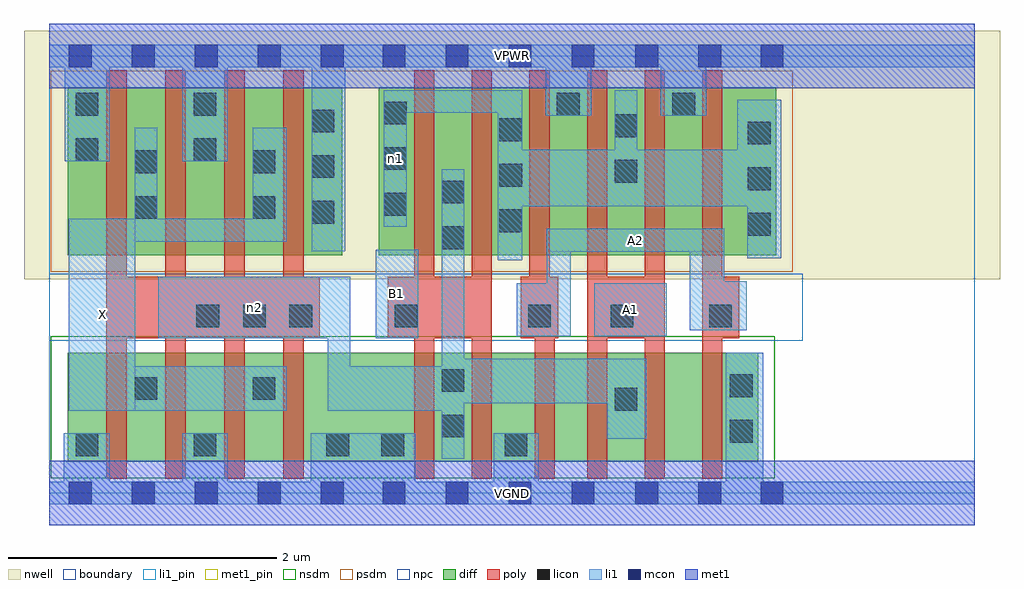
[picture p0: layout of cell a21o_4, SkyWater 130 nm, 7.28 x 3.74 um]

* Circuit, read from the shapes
.subckt a21o_4 A1 A2 B1 VGND VPWR X n1 n2
XM1 X n2 VGND VSUBS sky130_fd_pr__nfet_01v8 w=0.81 l=0.15 m=4
XM2 n2 B1 VGND VSUBS sky130_fd_pr__nfet_01v8 w=0.81 l=0.15 m=2
XM3 n3 A2 VGND VSUBS sky130_fd_pr__nfet_01v8 w=0.81 l=0.15
XM4 n2 A1 n3 VSUBS sky130_fd_pr__nfet_01v8 w=0.81 l=0.15
XM5 n4 A1 n2 VSUBS sky130_fd_pr__nfet_01v8 w=0.81 l=0.15
XM6 VGND A2 n4 VSUBS sky130_fd_pr__nfet_01v8 w=0.81 l=0.15
XM7 X n2 VPWR n5 sky130_fd_pr__pfet_01v8 w=1.25 l=0.15 m=4
XM8 n2 B1 n1 n5 sky130_fd_pr__pfet_01v8 w=1.25 l=0.15 m=2
XM9 VPWR A2 n1 n5 sky130_fd_pr__pfet_01v8 w=1.25 l=0.15 m=2
XM10 n1 A1 VPWR n5 sky130_fd_pr__pfet_01v8 w=1.25 l=0.15 m=2
.ends

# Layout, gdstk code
import gdstk
lib = gdstk.Library(unit=1e-6, precision=1e-09)
def R(c, l, rs):  # rectangles x0, y0, x1, y1
    for r in rs: c.add(gdstk.rectangle(r[:2], r[2:], *l))
def A(c, l, x, y, w, h, nx, ny, dx, dy):  # array of equal rectangles
    R(c, l, [(x+i*dx, y+j*dy, x+i*dx+w, y+j*dy+h) for i in range(nx) for j in range(ny)])
nwell = (64, 20)
diff = (65, 20)
poly = (66, 20)
licon = (66, 44)
li1_pin = (67, 16)
li1 = (67, 20)
mcon = (67, 44)
met1_pin = (68, 16)
met1 = (68, 20)
nsdm = (93, 44)
psdm = (94, 20)
npc = (95, 20)
boundary = (235, 4)

a21o_4 = lib.new_cell('a21o_4')
R(a21o_4, nwell, [(-0.19,1.595,7.09,3.45), (0,1.595,6.9,3.45)])
R(a21o_4, diff, [(0.135,0.235,5.285,1.045), (0.135,1.775,2.185,3.025), (2.455,1.775,5.42,3.025)])
A(a21o_4, poly, 0.425, 0.105, 0.15, 3.05, 4, 1, 0.44, 0)
A(a21o_4, poly, 4.01, 0.105, 0.15, 3.05, 3, 1, 0.43, 0)
R(a21o_4, poly, [(2.72,0.105,2.87,3.155), (3.15,0.105,3.3,3.155), (3.62,0.105,3.77,1.615), (0.425,1.155,2.015,1.615), (2.525,1.155,3.3,1.615), (3.515,1.155,3.795,1.615), (3.58,1.155,3.73,3.155), (4.01,1.155,4.59,1.615), (4.87,1.155,5.145,1.615)])
A(a21o_4, licon, 5.21, 1.92, 0.17, 0.17, 1, 3, 0, 0.34)
A(a21o_4, licon, 3.355, 1.945, 0.17, 0.17, 1, 3, 0, 0.34)
A(a21o_4, licon, 1.955, 2.01, 0.17, 0.17, 1, 3, 0, 0.34)
A(a21o_4, licon, 2.495, 2.07, 0.17, 0.17, 1, 3, 0, 0.34)
R(a21o_4, licon, [(0.195,0.275,0.365,0.445), (1.075,0.275,1.245,0.445), (2.065,0.275,2.235,0.445), (2.475,0.275,2.645,0.445), (3.395,0.275,3.565,0.445), (5.075,0.375,5.245,0.545), (2.925,0.415,3.095,0.585), (4.215,0.615,4.385,0.785), (0.635,0.695,0.805,0.865), (1.515,0.695,1.685,0.865), (5.075,0.715,5.245,0.885), (2.925,0.755,3.095,0.925), (1.095,1.235,1.265,1.405), (1.445,1.235,1.615,1.405), (1.79,1.235,1.96,1.405), (2.575,1.235,2.745,1.405), (3.57,1.235,3.74,1.405), (4.185,1.235,4.355,1.405), (4.92,1.235,5.09,1.405), (2.925,1.82,3.095,1.99), (0.635,2.045,0.805,2.215), (1.515,2.045,1.685,2.215), (2.925,2.16,3.095,2.33), (4.215,2.315,4.385,2.485), (0.635,2.385,0.805,2.555), (1.515,2.385,1.685,2.555), (0.195,2.475,0.365,2.645), (1.075,2.475,1.245,2.645), (4.215,2.655,4.385,2.825), (0.195,2.815,0.365,2.985), (1.075,2.815,1.245,2.985), (3.785,2.815,3.955,2.985), (4.645,2.815,4.815,2.985)])
R(a21o_4, li1_pin, [(0.145,0.615,0.64,2.045), (2.435,1.155,2.75,1.815), (4.065,1.17,4.605,1.565), (3.71,1.8,5.035,1.97)])
R(a21o_4, li1, [(0,-0.085,6.9,0.085), (0.105,-0.085,0.45,0.445), (0.99,-0.085,1.33,0.445), (1.95,-0.085,2.73,0.445), (3.315,-0.085,3.65,0.445), (5.045,-0.085,5.325,1.045), (2.925,0.255,3.095,2.415), (4.16,0.405,4.45,1), (0.145,0.615,0.64,2.045), (0.145,0.615,1.77,0.945), (2.075,0.615,3.095,0.945), (2.075,0.615,2.245,1.615), (2.925,0.67,4.45,1), (0.81,1.155,2.245,1.615), (2.435,1.155,2.75,1.815), (3.485,1.17,3.89,1.565), (3.71,1.17,3.89,1.97), (4.065,1.17,4.605,1.565), (4.775,1.215,5.035,1.97), (4.775,1.215,5.2,1.58), (3.345,1.735,3.525,3.005), (5.205,1.75,5.46,2.935), (3.71,1.8,5.035,1.97), (1.955,1.805,2.205,3.345), (0.145,1.875,1.77,2.045), (0.635,1.875,0.805,2.725), (1.515,1.875,1.77,2.725), (2.495,1.985,2.665,3.005), (3.345,2.14,5.46,2.56), (4.215,2.14,4.385,3.005), (5.13,2.14,5.46,2.935), (0.115,2.475,0.45,3.345), (0.99,2.475,1.33,3.345), (3.7,2.815,4.04,3.345), (4.56,2.815,4.9,3.345), (2.495,2.835,3.525,3.005), (0,3.175,6.9,3.345)])
A(a21o_4, mcon, 0.145, -0.085, 0.17, 0.17, 5, 2, 0.47, 3.26)
A(a21o_4, mcon, 2.485, -0.085, 0.17, 0.17, 4, 2, 0.47, 3.26)
R(a21o_4, mcon, [(4.37,-0.085,4.54,0.085), (4.84,-0.085,5.01,0.085), (5.305,-0.085,5.475,0.085), (4.37,3.175,4.54,3.345), (4.84,3.175,5.01,3.345), (5.305,3.175,5.475,3.345)])
R(a21o_4, met1_pin, [(0,-0.24,6.9,0.24), (0,3.02,6.9,3.5)])
R(a21o_4, met1, [(0,-0.24,6.9,0.24), (0,3.02,6.9,3.5)])
R(a21o_4, nsdm, [(0.01,0.11,5.41,1.17)])
R(a21o_4, psdm, [(0.01,1.65,5.545,3.15)])
R(a21o_4, npc, [(0,1.135,5.62,1.635)])
R(a21o_4, boundary, [(0,0,6.9,3.26)])
a21o_4.add(gdstk.Label('A1', (4.335,1.367), layer=67, texttype=5))
a21o_4.add(gdstk.Label('A2', (4.372,1.885), layer=67, texttype=5))
a21o_4.add(gdstk.Label('B1', (2.592,1.485), layer=67, texttype=5))
a21o_4.add(gdstk.Label('X', (0.392,1.33), layer=67, texttype=5))
a21o_4.add(gdstk.Label('n2', (1.527,1.385), layer=67, texttype=5))
a21o_4.add(gdstk.Label('n1', (2.58,2.495), layer=67, texttype=5))
a21o_4.add(gdstk.Label('VPWR', (3.45,3.26), layer=68, texttype=5))
a21o_4.add(gdstk.Label('VGND', (3.45,0), layer=68, texttype=5))
a21o_4.add(gdstk.Label('A1', (4.335,1.367), layer=67, texttype=16))
a21o_4.add(gdstk.Label('A2', (4.372,1.885), layer=67, texttype=16))
a21o_4.add(gdstk.Label('B1', (2.592,1.485), layer=67, texttype=16))
a21o_4.add(gdstk.Label('X', (0.392,1.33), layer=67, texttype=16))
a21o_4.add(gdstk.Label('VPWR', (3.45,3.26), layer=68, texttype=16))
a21o_4.add(gdstk.Label('VGND', (3.45,0), layer=68, texttype=16))

lib.write_gds('a21o_4.gds')
